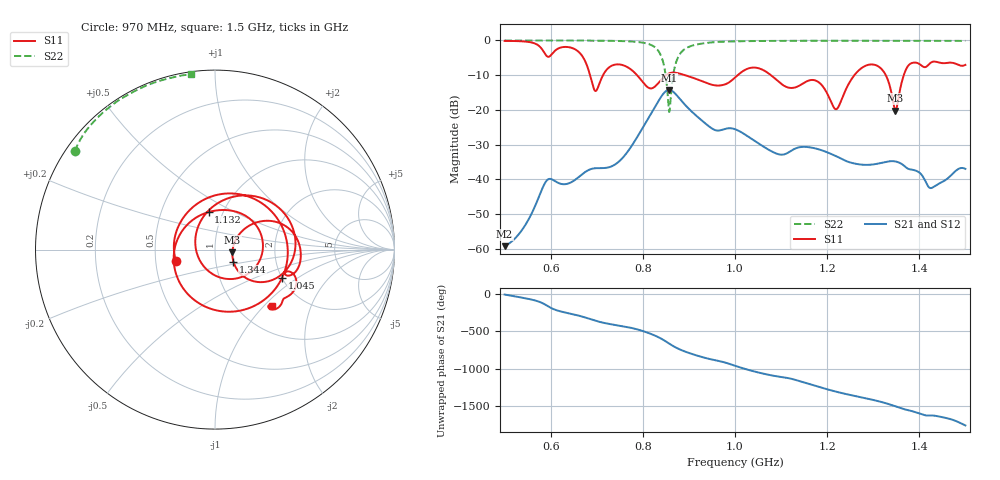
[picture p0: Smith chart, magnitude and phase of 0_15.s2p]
! TOUCHSTONE file generated by CST MICROWAVE STUDIO
! Date and time: Sat Oct 24 10:44:52 2020
! Project name: Scenario_1_Planar_Body_Tissue_Center.cst
! Parameters = {hfat=3; hmuscle=50; hskin=1.5; hgap=25; Wtissue=700; Ltissue=700; L_HA=400; MT=2.54; Rad_Dielectric=30; Rad_Lower=7.3; Rad_Upper=30; a_HA=580; a_WG=246; b_HA=500; b_WG=121; c_HA=0; c_WG=187; d_feed=85; dx1=415.48; h_feed=15; h_lower=18; h_upper=40}
! Header version: 2018
! Port assignment regex: !\s*Touchstone port\s*([0-9]+)\s*=\s*(CST MWS port|CST DS port)\s*([0-9]+|Zmin|Zmax)\s*\(\"(.*)\"\)(\s*mode\s*([0-9]+))?.*
! Touchstone port assignment:
! Touchstone port 1 = CST MWS port 1 ("")
! Touchstone port 2 = CST MWS port 2 ("")
# GHz S DB R 50
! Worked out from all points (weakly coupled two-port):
!   1003 points, 500 MHz to 1.5 GHz, reference 50 ohm
!   highest |S21| = -14.24 dB at 857 MHz (marker M1); lowest = -59.2 dB at 500 MHz (marker M2)
!   lowest |S11| = -20.2 dB at 1.348 GHz (marker M3), VSWR 1.22, Z = 60.7 - j1.72 ohm
!   |S11| at or under -10 dB: 787.4 MHz to 850.3 MHz (62.94 MHz wide, 7.69 % of centre); 891.5 MHz to 1.006 GHz (114.4 MHz wide, 12.1 % of centre); 1.078 GHz to 1.259 GHz (181.2 MHz wide, 15.5 % of centre)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
!   |S22| runs from -20.6 to 0.0 dB; largest |S21 - S12| = 3.9e-05
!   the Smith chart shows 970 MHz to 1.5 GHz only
!   S11 on the Smith chart (normalised r, x): 970 MHz: 0.64, -0.09; 1.045 GHz: 2.01, -0.75; 1.132 GHz: 0.86, +0.37; 1.344 GHz: 1.22, -0.17; 1.5 GHz: 1.42, -1.11
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0.5  -0.14 -121.3  -59.23 -7.8  -59.23 -7.8  -0.01 151.1
0.63  -1.87 172.8  -41.40 114.0  -41.40 114.0  -0.03 141.7
0.667  -4.22 108.3  -38.67 60.0  -38.67 60.0  -0.04 138.4
0.707  -11.99 -104.5  -36.76 -14.5  -36.76 -14.5  -0.08 134.0
0.768  -7.80 104.4  -31.85 -84.5  -31.85 -84.5  -0.26 123.7
0.801  -12.17 12.6  -24.86 -137.7  -24.86 -137.7  -0.67 112.4
0.834  -12.22 -129.6  -17.41 141.3  -17.41 141.3  -3.07 83.0
0.857  -9.49 147.5  -14.24 57.3  -14.24 57.3  -20.61 -38.3
0.89  -9.94 54.4  -18.30 -46.3  -18.30 -46.3  -2.58 175.0
0.97  -12.92 -163.8  -25.80 176.9  -25.81 176.9  -0.39 144.9
1  -10.69 97.1  -25.56 120.3  -25.56 120.3  -0.26 140.3
1.045  -7.84 -22.6  -29.14 38.9  -29.14 38.9  -0.17 134.9
1.093  -11.70 -144.5  -32.71 -23.2  -32.71 -23.2  -0.13 130.3
1.132  -13.47 99.7  -31.06 -70.3  -31.06 -70.3  -0.11 127.0
1.167  -11.38 16.5  -30.88 -135.6  -30.88 -135.6  -0.09 124.2
1.219  -19.80 -158.5  -33.30 134.5  -33.30 134.5  -0.09 120.2
1.282  -7.37 31.8  -35.82 48.0  -35.82 48.0  -0.09 115.5
1.334  -12.24 -42.0  -34.82 -33.0  -34.82 -33.0  -0.08 111.5
1.344  -18.19 -33.3  -34.76 -53.1  -34.76 -53.1  -0.08 110.7
1.348  -20.18 -8.2  -34.84 -61.5  -34.84 -61.5  -0.08 110.4
1.381  -6.67 6.3  -37.14 -121.3  -37.14 -121.3  -0.09 107.9
1.5  -7.03 -44.7  -36.98 42.2  -36.98 42.2  -0.13 97.9
